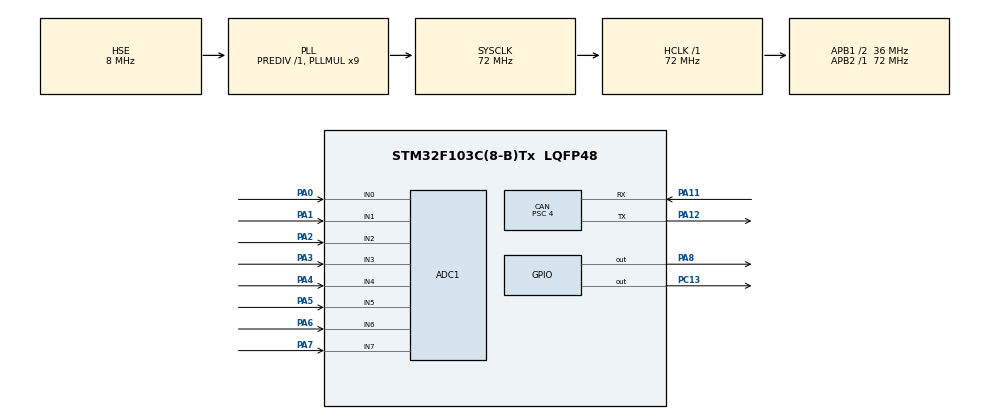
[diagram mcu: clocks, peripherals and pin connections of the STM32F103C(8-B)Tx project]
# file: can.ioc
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ADC1.Channel-10\#ChannelRegularConversion=ADC_CHANNEL_4
ADC1.Channel-11\#ChannelRegularConversion=ADC_CHANNEL_5
ADC1.Channel-12\#ChannelRegularConversion=ADC_CHANNEL_6
ADC1.Channel-13\#ChannelRegularConversion=ADC_CHANNEL_7
ADC1.Channel-6\#ChannelRegularConversion=ADC_CHANNEL_0
ADC1.Channel-7\#ChannelRegularConversion=ADC_CHANNEL_1
ADC1.Channel-8\#ChannelRegularConversion=ADC_CHANNEL_2
ADC1.Channel-9\#ChannelRegularConversion=ADC_CHANNEL_3
ADC1.ContinuousConvMode=ENABLE
ADC1.ExternalTrigConv=ADC_EXTERNALTRIGCONV_T3_TRGO
ADC1.NbrOfConversion=8
ADC1.NbrOfConversionFlag=1
ADC1.Rank-10\#ChannelRegularConversion=5
ADC1.Rank-11\#ChannelRegularConversion=6
ADC1.Rank-12\#ChannelRegularConversion=7
ADC1.Rank-13\#ChannelRegularConversion=8
ADC1.Rank-6\#ChannelRegularConversion=1
ADC1.Rank-7\#ChannelRegularConversion=2
ADC1.Rank-8\#ChannelRegularConversion=3
ADC1.Rank-9\#ChannelRegularConversion=4
ADC1.SamplingTime-10\#ChannelRegularConversion=ADC_SAMPLETIME_41CYCLES_5
ADC1.SamplingTime-11\#ChannelRegularConversion=ADC_SAMPLETIME_41CYCLES_5
ADC1.SamplingTime-12\#ChannelRegularConversion=ADC_SAMPLETIME_41CYCLES_5
ADC1.SamplingTime-13\#ChannelRegularConversion=ADC_SAMPLETIME_41CYCLES_5
ADC1.SamplingTime-6\#ChannelRegularConversion=ADC_SAMPLETIME_41CYCLES_5
ADC1.SamplingTime-7\#ChannelRegularConversion=ADC_SAMPLETIME_41CYCLES_5
ADC1.SamplingTime-8\#ChannelRegularConversion=ADC_SAMPLETIME_41CYCLES_5
ADC1.SamplingTime-9\#ChannelRegularConversion=ADC_SAMPLETIME_41CYCLES_5
ADC1.master=1
CAN.AWUM=ENABLE
CAN.BS1=CAN_BS1_15TQ
CAN.BS2=CAN_BS2_2TQ
CAN.CalculateTimeBit=2000
CAN.CalculateTimeQuantum=111.11111111111111
CAN.Mode=CAN_MODE_NORMAL
CAN.NART=ENABLE
CAN.Prescaler=4
Dma.ADC1.0.Direction=DMA_PERIPH_TO_MEMORY
Dma.ADC1.0.Instance=DMA1_Channel1
Dma.ADC1.0.MemDataAlignment=DMA_MDATAALIGN_WORD
Dma.ADC1.0.MemInc=DMA_MINC_ENABLE
Dma.ADC1.0.Mode=DMA_CIRCULAR
Dma.ADC1.0.PeriphDataAlignment=DMA_PDATAALIGN_WORD
Dma.ADC1.0.PeriphInc=DMA_PINC_DISABLE
Dma.ADC1.0.Priority=DMA_PRIORITY_LOW
Dma.Request0=ADC1
Mcu.Family=STM32F1
Mcu.Name=STM32F103C(8-B)Tx
Mcu.Package=LQFP48
NVIC.ADC1_2_IRQn=true\:0\:0\:false\:false\:true\:true\:true
NVIC.DMA1_Channel1_IRQn=true\:0\:0\:false\:false\:true\:false\:true
NVIC.PriorityGroup=NVIC_PRIORITYGROUP_4
NVIC.TIM1_UP_IRQn=true\:0\:0\:false\:false\:true\:false\:true
NVIC.TimeBase=TIM1_UP_IRQn
NVIC.TimeBaseIP=TIM1
NVIC.USB_LP_CAN1_RX0_IRQn=true\:0\:0\:false\:false\:true\:true\:true
PA0-WKUP.Signal=ADCx_IN0
PA1.Signal=ADCx_IN1
PA11.Mode=Master
PA11.Signal=CAN_RX
PA12.Mode=Master
PA12.Signal=CAN_TX
PA2.Signal=ADCx_IN2
PA3.Signal=ADCx_IN3
PA4.Signal=ADCx_IN4
PA5.Signal=ADCx_IN5
PA6.Signal=ADCx_IN6
PA7.Signal=ADCx_IN7
PA8.Signal=GPIO_Output
PC13-TAMPER-RTC.GPIO_Speed=GPIO_SPEED_FREQ_LOW
PC13-TAMPER-RTC.Signal=GPIO_Output
PD0-OSC_IN.Mode=HSE-External-Oscillator
PD0-OSC_IN.Signal=RCC_OSC_IN
PD1-OSC_OUT.Mode=HSE-External-Oscillator
PD1-OSC_OUT.Signal=RCC_OSC_OUT
ProjectManager.HeapSize=0x200
ProjectManager.StackSize=0x400
ProjectManager.TargetToolchain=MDK-ARM V5.27
RCC.ADCPresc=RCC_ADCPCLK2_DIV6
RCC.AHBFreq_Value=72000000
RCC.APB1CLKDivider=RCC_HCLK_DIV2
RCC.APB1Freq_Value=36000000
RCC.APB1TimFreq_Value=72000000
RCC.APB2Freq_Value=72000000
RCC.APB2TimFreq_Value=72000000
RCC.HCLKFreq_Value=72000000
RCC.PLLMUL=RCC_PLL_MUL9
RCC.PLLSourceVirtual=RCC_PLLSOURCE_HSE
RCC.SYSCLKFreq_VALUE=72000000
RCC.SYSCLKSource=RCC_SYSCLKSOURCE_PLLCLK
RCC.USBFreq_Value=72000000
SH.ADCx_IN0.0=ADC1_IN0,IN0
SH.ADCx_IN1.0=ADC1_IN1,IN1
SH.ADCx_IN2.0=ADC1_IN2,IN2
SH.ADCx_IN3.0=ADC1_IN3,IN3
SH.ADCx_IN4.0=ADC1_IN4,IN4
SH.ADCx_IN5.0=ADC1_IN5,IN5
SH.ADCx_IN6.0=ADC1_IN6,IN6
SH.ADCx_IN7.0=ADC1_IN7,IN7
TIM3.Period=5
TIM3.Prescaler=16000
TIM3.TIM_MasterOutputTrigger=TIM_TRGO_UPDATE
VP_SYS_VS_ND.Mode=No_Debug
VP_SYS_VS_tim1.Mode=TIM1
VP_TIM3_VS_ClockSourceINT.Mode=Internal
board=custom

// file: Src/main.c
/* USER CODE BEGIN Header */
/**
  ******************************************************************************
  * @file           : main.c
  * @brief          : Main program body
  ******************************************************************************
  * @attention
  *
  * <h2><center>&copy; Copyright (c) 2020 STMicroelectronics.
  * All rights reserved.</center></h2>
  *
  * This software component is licensed by ST under BSD 3-Clause license,
  * the "License"; You may not use this file except in compliance with the
  * License. You may obtain a copy of the License at:
  *                        opensource.org/licenses/BSD-3-Clause
  *
  ******************************************************************************
  */
/* USER CODE END Header */

#include "main.h"

ADC_HandleTypeDef hadc1;
DMA_HandleTypeDef hdma_adc1;

CAN_HandleTypeDef hcan;

TIM_HandleTypeDef htim3;

/* USER CODE BEGIN PV */
CAN_RxHeaderTypeDef RxHeader;
CAN_TxHeaderTypeDef TxHeader;
CAN_FilterTypeDef sFilterConfig;
uint32_t potValue[8];
uint32_t myID = 121;
//uint32_t myID = 0xE4600;
uint16_t remoteID = 120;
uint32_t TxMailbox;
uint32_t timeout = 5;
uint8_t CAN_Data[] = {0};
uint8_t CAN_digital_Data[] = {0,0,0,0,0,0,0,0};
//uint8_t Rx_Data[8];
/* USER CODE END PV */

void SystemClock_Config(void);
static void MX_GPIO_Init(void);
static void MX_DMA_Init(void);
static void MX_CAN_Init(void);
static void MX_ADC1_Init(void);
static void MX_TIM3_Init(void);
/* USER CODE BEGIN PFP */
void CAN_filterConfig(void);
/* USER CODE END PFP */

int main(void)
{

  /* MCU Configuration--------------------------------------------------------*/

  /* Reset of all peripherals, Initializes the Flash interface and the Systick. */
  HAL_Init();

  /* Configure the system clock */
  SystemClock_Config();

  /* Initialize all configured peripherals */
  MX_GPIO_Init();
  MX_DMA_Init();
  MX_CAN_Init();
  MX_ADC1_Init();
  MX_TIM3_Init();
  /* USER CODE BEGIN 2 */
	HAL_TIM_Base_Start(&htim3);

  CAN_filterConfig();
  HAL_ADC_Start(&hadc1);
  HAL_CAN_Start(&hcan);

  TxHeader.DLC = 8;
  TxHeader.IDE = CAN_ID_EXT;
  TxHeader.ExtId = myID;
  TxHeader.RTR = CAN_RTR_DATA;

  /* USER CODE END 2 */

  /* Infinite loop */
  /* USER CODE BEGIN WHILE */
	int i=0;
	int j=0;
	if(HAL_ADC_Start_DMA(&hadc1, potValue, 8) != HAL_OK){
			Error_Handler();
		}
  while (1)
  {
		for(i=0;i<8;i++){
			CAN_digital_Data[i] = potValue[i]/16;
		}
		//HAL_ADC_ConvCpltCallback(&hadc1);
    /* USER CODE END WHILE */

    /* USER CODE BEGIN 3 */
	  //potValue[0] = HAL_ADC_GetValue(&hadc1);
		//CAN_digital_Data[0] = potValue[0]/16;
		//CAN_Data[0] = (CAN_digital_Data[0]*3.3)/255;
		/*CAN_digital_Data[0] = i;
		i++;
		if(i==256){
			i=0;
		}*/
		if(HAL_CAN_GetTxMailboxesFreeLevel(&hcan))
			{
				if(HAL_CAN_AddTxMessage(&hcan, &TxHeader, CAN_digital_Data, &TxMailbox) != HAL_OK)
					{
						Error_Handler();
					}
			}
		while(HAL_CAN_IsTxMessagePending(&hcan, TxMailbox))
		{
			HAL_GPIO_TogglePin(GPIOA, GPIO_PIN_8);
			HAL_Delay(100);
		}
	  if(potValue[2] >= 2048)
	  {
		  HAL_GPIO_WritePin(GPIOC, GPIO_PIN_13, GPIO_PIN_RESET);
	  }
	  else
	  {
		  HAL_GPIO_WritePin(GPIOC, GPIO_PIN_13, GPIO_PIN_SET);
	  }

//	  HAL_GPIO_TogglePin(GPIOC, GPIO_PIN_13);
//	  HAL_Delay(100);
		//i++;
		//j++;
  }
  /* USER CODE END 3 */
}

void SystemClock_Config(void)
{
  RCC_OscInitTypeDef RCC_OscInitStruct = {0};
  RCC_ClkInitTypeDef RCC_ClkInitStruct = {0};
  RCC_PeriphCLKInitTypeDef PeriphClkInit = {0};

  /** Initializes the CPU, AHB and APB busses clocks
  */
  RCC_OscInitStruct.OscillatorType = RCC_OSCILLATORTYPE_HSE;
  RCC_OscInitStruct.HSEState = RCC_HSE_ON;
  RCC_OscInitStruct.HSEPredivValue = RCC_HSE_PREDIV_DIV1;
  RCC_OscInitStruct.HSIState = RCC_HSI_ON;
  RCC_OscInitStruct.PLL.PLLState = RCC_PLL_ON;
  RCC_OscInitStruct.PLL.PLLSource = RCC_PLLSOURCE_HSE;
  RCC_OscInitStruct.PLL.PLLMUL = RCC_PLL_MUL9;
  if (HAL_RCC_OscConfig(&RCC_OscInitStruct) != HAL_OK)
  {
    Error_Handler();
  }
  /** Initializes the CPU, AHB and APB busses clocks
  */
  RCC_ClkInitStruct.ClockType = RCC_CLOCKTYPE_HCLK|RCC_CLOCKTYPE_SYSCLK
                              |RCC_CLOCKTYPE_PCLK1|RCC_CLOCKTYPE_PCLK2;
  RCC_ClkInitStruct.SYSCLKSource = RCC_SYSCLKSOURCE_PLLCLK;
  RCC_ClkInitStruct.AHBCLKDivider = RCC_SYSCLK_DIV1;
  RCC_ClkInitStruct.APB1CLKDivider = RCC_HCLK_DIV2;
  RCC_ClkInitStruct.APB2CLKDivider = RCC_HCLK_DIV1;

  if (HAL_RCC_ClockConfig(&RCC_ClkInitStruct, FLASH_LATENCY_2) != HAL_OK)
  {
    Error_Handler();
  }
  PeriphClkInit.PeriphClockSelection = RCC_PERIPHCLK_ADC;
  PeriphClkInit.AdcClockSelection = RCC_ADCPCLK2_DIV6;
  if (HAL_RCCEx_PeriphCLKConfig(&PeriphClkInit) != HAL_OK)
  {
    Error_Handler();
  }
}

static void MX_ADC1_Init(void)
{

  ADC_ChannelConfTypeDef sConfig = {0};

  /** Common config
  */
  hadc1.Instance = ADC1;
  hadc1.Init.ScanConvMode = ADC_SCAN_ENABLE;
  hadc1.Init.ContinuousConvMode = ENABLE;
  hadc1.Init.DiscontinuousConvMode = DISABLE;
  hadc1.Init.ExternalTrigConv = ADC_EXTERNALTRIGCONV_T3_TRGO;
  hadc1.Init.DataAlign = ADC_DATAALIGN_RIGHT;
  hadc1.Init.NbrOfConversion = 8;
  if (HAL_ADC_Init(&hadc1) != HAL_OK)
  {
    Error_Handler();
  }
  /** Configure Regular Channel
  */
  sConfig.Channel = ADC_CHANNEL_0;
  sConfig.Rank = ADC_REGULAR_RANK_1;
  sConfig.SamplingTime = ADC_SAMPLETIME_41CYCLES_5;
  if (HAL_ADC_ConfigChannel(&hadc1, &sConfig) != HAL_OK)
  {
    Error_Handler();
  }
  /** Configure Regular Channel
  */
  sConfig.Channel = ADC_CHANNEL_1;
  sConfig.Rank = ADC_REGULAR_RANK_2;
  if (HAL_ADC_ConfigChannel(&hadc1, &sConfig) != HAL_OK)
  {
    Error_Handler();
  }
  /** Configure Regular Channel
  */
  sConfig.Channel = ADC_CHANNEL_2;
  sConfig.Rank = ADC_REGULAR_RANK_3;
  if (HAL_ADC_ConfigChannel(&hadc1, &sConfig) != HAL_OK)
  {
    Error_Handler();
  }
  /** Configure Regular Channel
  */
  sConfig.Channel = ADC_CHANNEL_3;
  sConfig.Rank = ADC_REGULAR_RANK_4;
  if (HAL_ADC_ConfigChannel(&hadc1, &sConfig) != HAL_OK)
  {
    Error_Handler();
  }
  /** Configure Regular Channel
  */
  sConfig.Channel = ADC_CHANNEL_4;
  sConfig.Rank = ADC_REGULAR_RANK_5;
  if (HAL_ADC_ConfigChannel(&hadc1, &sConfig) != HAL_OK)
  {
    Error_Handler();
  }
  /** Configure Regular Channel
  */
  sConfig.Channel = ADC_CHANNEL_5;
  sConfig.Rank = ADC_REGULAR_RANK_6;
  if (HAL_ADC_ConfigChannel(&hadc1, &sConfig) != HAL_OK)
  {
    Error_Handler();
  }
  /** Configure Regular Channel
  */
  sConfig.Channel = ADC_CHANNEL_6;
  sConfig.Rank = ADC_REGULAR_RANK_7;
  if (HAL_ADC_ConfigChannel(&hadc1, &sConfig) != HAL_OK)
  {
    Error_Handler();
  }
  /** Configure Regular Channel
  */
  sConfig.Channel = ADC_CHANNEL_7;
  sConfig.Rank = ADC_REGULAR_RANK_8;
  if (HAL_ADC_ConfigChannel(&hadc1, &sConfig) != HAL_OK)
  {
    Error_Handler();
  }

}

static void MX_CAN_Init(void)
{

  hcan.Instance = CAN1;
  hcan.Init.Prescaler = 4;
  hcan.Init.Mode = CAN_MODE_NORMAL;
  hcan.Init.SyncJumpWidth = CAN_SJW_1TQ;
  hcan.Init.TimeSeg1 = CAN_BS1_15TQ;
  hcan.Init.TimeSeg2 = CAN_BS2_2TQ;
  hcan.Init.TimeTriggeredMode = DISABLE;
  hcan.Init.AutoBusOff = DISABLE;
  hcan.Init.AutoWakeUp = ENABLE;
  hcan.Init.AutoRetransmission = ENABLE;
  hcan.Init.ReceiveFifoLocked = DISABLE;
  hcan.Init.TransmitFifoPriority = DISABLE;
  if (HAL_CAN_Init(&hcan) != HAL_OK)
  {
    Error_Handler();
  }

}

static void MX_TIM3_Init(void)
{

  TIM_ClockConfigTypeDef sClockSourceConfig = {0};
  TIM_MasterConfigTypeDef sMasterConfig = {0};

  htim3.Instance = TIM3;
  htim3.Init.Prescaler = 16000;
  htim3.Init.CounterMode = TIM_COUNTERMODE_UP;
  htim3.Init.Period = 5;
  htim3.Init.ClockDivision = TIM_CLOCKDIVISION_DIV1;
  htim3.Init.AutoReloadPreload = TIM_AUTORELOAD_PRELOAD_DISABLE;
  if (HAL_TIM_Base_Init(&htim3) != HAL_OK)
  {
    Error_Handler();
  }
  sClockSourceConfig.ClockSource = TIM_CLOCKSOURCE_INTERNAL;
  if (HAL_TIM_ConfigClockSource(&htim3, &sClockSourceConfig) != HAL_OK)
  {
    Error_Handler();
  }
  sMasterConfig.MasterOutputTrigger = TIM_TRGO_UPDATE;
  sMasterConfig.MasterSlaveMode = TIM_MASTERSLAVEMODE_DISABLE;
  if (HAL_TIMEx_MasterConfigSynchronization(&htim3, &sMasterConfig) != HAL_OK)
  {
    Error_Handler();
  }

}

static void MX_DMA_Init(void)
{

  /* DMA controller clock enable */
  __HAL_RCC_DMA1_CLK_ENABLE();

  /* DMA interrupt init */
  /* DMA1_Channel1_IRQn interrupt configuration */
  HAL_NVIC_SetPriority(DMA1_Channel1_IRQn, 0, 0);
  HAL_NVIC_EnableIRQ(DMA1_Channel1_IRQn);

}

static void MX_GPIO_Init(void)
{
  GPIO_InitTypeDef GPIO_InitStruct = {0};

  /* GPIO Ports Clock Enable */
  __HAL_RCC_GPIOC_CLK_ENABLE();
  __HAL_RCC_GPIOD_CLK_ENABLE();
  __HAL_RCC_GPIOA_CLK_ENABLE();

  /*Configure GPIO pin Output Level */
  HAL_GPIO_WritePin(GPIOC, GPIO_PIN_13, GPIO_PIN_RESET);

  /*Configure GPIO pin Output Level */
  HAL_GPIO_WritePin(GPIOA, GPIO_PIN_8, GPIO_PIN_RESET);

  /*Configure GPIO pin : PC13 */
  GPIO_InitStruct.Pin = GPIO_PIN_13;
  GPIO_InitStruct.Mode = GPIO_MODE_OUTPUT_PP;
  GPIO_InitStruct.Pull = GPIO_NOPULL;
  GPIO_InitStruct.Speed = GPIO_SPEED_FREQ_LOW;
  HAL_GPIO_Init(GPIOC, &GPIO_InitStruct);

  /*Configure GPIO pin : PA8 */
  GPIO_InitStruct.Pin = GPIO_PIN_8;
  GPIO_InitStruct.Mode = GPIO_MODE_OUTPUT_PP;
  GPIO_InitStruct.Pull = GPIO_NOPULL;
  GPIO_InitStruct.Speed = GPIO_SPEED_FREQ_LOW;
  HAL_GPIO_Init(GPIOA, &GPIO_InitStruct);

}

/* USER CODE BEGIN 4 */
void CAN_filterConfig(void)
{
	sFilterConfig.FilterActivation = DISABLE;
	sFilterConfig.FilterFIFOAssignment = CAN_FILTER_FIFO0;
	sFilterConfig.FilterIdHigh = 0x0000;
	sFilterConfig.FilterIdLow = 0x0000;
	sFilterConfig.FilterMaskIdHigh = 0x0000;
	sFilterConfig.FilterMaskIdLow = 0x0000;
	sFilterConfig.FilterScale = CAN_FILTERSCALE_32BIT;
	sFilterConfig.FilterBank = 14;
	sFilterConfig.FilterMode = CAN_FILTERMODE_IDMASK;

	if(HAL_CAN_ConfigFilter(&hcan, &sFilterConfig) != HAL_OK)
	{
		Error_Handler();
	}
}

//void HAL_CAN_TxMailbox0CompleteCallback(CAN_HandleTypeDef *hcan)
//{
//  /* Prevent unused argument(s) compilation warning */
//  UNUSED(hcan);
//
//  /* NOTE : This function Should not be modified, when the callback is needed,
//            the HAL_CAN_TxMailbox0CompleteCallback could be implemented in the
//            user file
//   */
//}
/* USER CODE END 4 */

 /**
  * @brief  Period elapsed callback in non blocking mode
  * @note   This function is called  when TIM1 interrupt took place, inside
  * HAL_TIM_IRQHandler(). It makes a direct call to HAL_IncTick() to increment
  * a global variable "uwTick" used as application time base.
  * @param  htim : TIM handle
  * @retval None
  */
void HAL_TIM_PeriodElapsedCallback(TIM_HandleTypeDef *htim)
{
  if (htim->Instance == TIM1) {
    HAL_IncTick();
  }
}

void Error_Handler(void)
{
}

/************************ (C) COPYRIGHT STMicroelectronics *****END OF FILE****/
